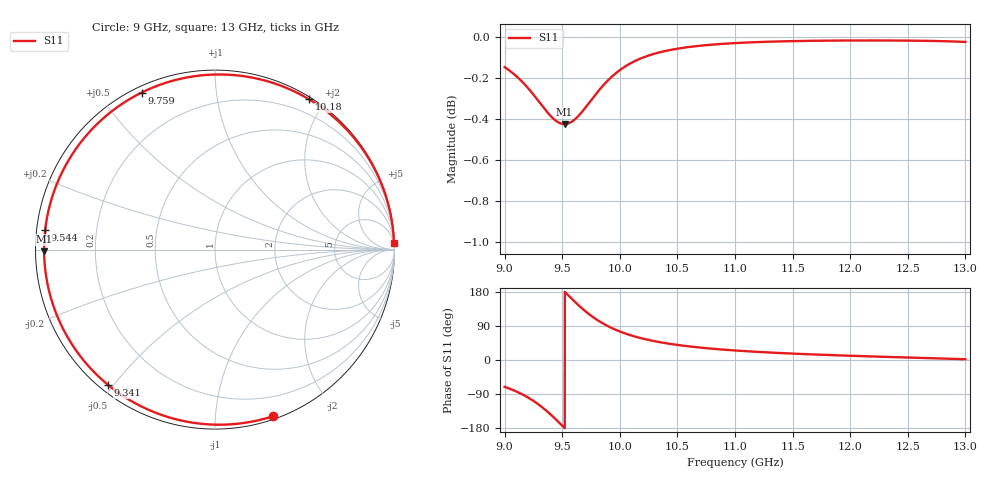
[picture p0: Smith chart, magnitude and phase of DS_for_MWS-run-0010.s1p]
! TOUCHSTONE file generated by CST DESIGN STUDIO
! Date and time: Tue Feb  4 13:17:48 2025
! Project name: C:\Work\MatlabApps\UnitCellOptimizationMatlab\CST\unitcell.cst
! Tree item: Tasks\Sweep1\SPara1\S-Parameters
! Header version: 2024
! Port assignment regex: !\s*Touchstone port\s*([0-9]+)\s*=\s*(CST MWS port|CST DES external port|CST DES block port)\s*(.+)\s* \(\"(.*)\"\)(\s*mode\s*([0-9]+))?.*
! Touchstone port assignment:
! Touchstone port 1 = CST DES external port 1 ("")
# GHz S MA R 50
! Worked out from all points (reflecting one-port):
!   4001 points, 9 GHz to 13 GHz, reference 50 ohm
!   lowest |S11| = -0.4 dB at 9.52 GHz (marker M1), VSWR 40.88, Z = 1.22 - j0.267 ohm
!   phase of S11 starts at -71 deg and turns -287 deg over the sweep
!   S11 on the Smith chart (normalised r, x): 9 GHz: 0.03, -1.41; 9.341 GHz: 0.02, -0.48; 9.544 GHz: 0.02, +0.06; 9.759 GHz: 0.02, +0.64; 10.18 GHz: 0.03, +1.80; 13 GHz: 5, +56
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9  0.9831 -70.8
9.095  0.9785 -82.2
9.201  0.9718 -98.6
9.274  0.9662 -112.9
9.341  0.9608 -128.4
9.384  0.9576 -139.5
9.429  0.9548 -152.1
9.5  0.9524 -173.3
9.52  0.9522 -179.4
9.544  0.9524 173.3
9.597  0.9541 157.3
9.657  0.9577 140.2
9.707  0.9615 127.2
9.759  0.9657 115.0
9.809  0.9697 104.6
9.863  0.9736 94.8
9.931  0.9779 84.2
10  0.9814 75.2
10.085  0.9849 66.1
10.178  0.9878 58.1
10.325  0.9909 48.3
10.5  0.9933 39.8
10.721  0.9951 32.0
11  0.9964 25.1
11.5  0.9975 16.9
12  0.9979 11.2
12.5  0.9978 6.6
13  0.997 2.0
